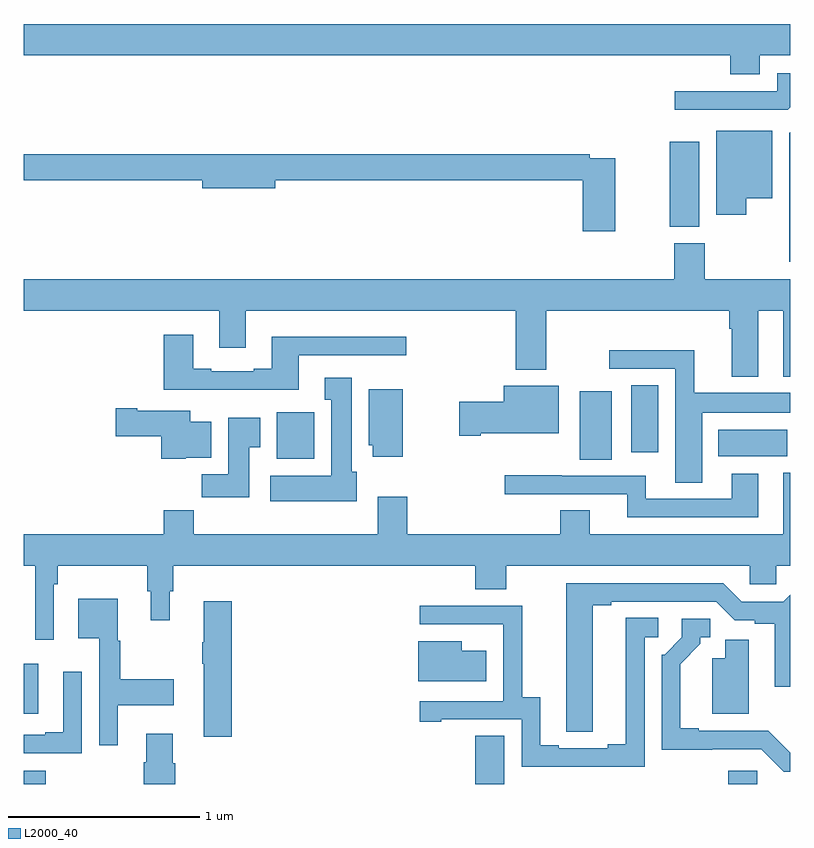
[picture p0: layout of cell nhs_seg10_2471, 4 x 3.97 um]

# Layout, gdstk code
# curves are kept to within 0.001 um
import gdstk
lib = gdstk.Library(unit=1e-6, precision=1e-09)
def R(c, l, rs):  # rectangles x0, y0, x1, y1
    for r in rs: c.add(gdstk.rectangle(r[:2], r[2:], *l))
def P(c, l, *ps):  # polygons
    for p in ps: c.add(gdstk.Polygon(p, *l))
L2000_40 = (2000, 40)

nhs_seg10_2471 = lib.new_cell('nhs_seg10_2471')
R(nhs_seg10_2471, L2000_40, [(243,1308.5,243.113,1308.57), (245.357,1308.5,245.509,1308.752), (246.677,1308.5,246.828,1308.57), (243,1308.866,243.076,1309.129), (245.903,1310.194,246.07,1310.551), (244.319,1310.198,244.516,1310.44), (246.626,1310.21,246.985,1310.35), (246.17,1310.232,246.313,1310.582), (246.371,1311.409,246.526,1311.853)])
P(nhs_seg10_2471, L2000_40, [(246.841,1312.304),(247,1312.304),(247,1312.468),(243,1312.468),(243,1312.304),(246.689,1312.304),(246.689,1312.205),(246.841,1312.205)],
  [(247,1312.033),(247,1312.212),(246.933,1312.212),(246.933,1312.116),(246.399,1312.116),(246.399,1312.02),(246.987,1312.02)],
  [(246.772,1311.557),(246.907,1311.557),(246.907,1311.91),(246.614,1311.91),(246.614,1311.471),(246.772,1311.471)],
  [(247,1311.904),(246.995,1311.899),(246.995,1311.227),(247,1311.227)],
  [(246.088,1311.768),(245.954,1311.768),(245.954,1311.788),(243,1311.788),(243,1311.652),(243.932,1311.652),(243.932,1311.61),(244.312,1311.61),(244.312,1311.652),(245.918,1311.652),(245.918,1311.387),(246.088,1311.387)],
  [(246.835,1310.972),(246.965,1310.972),(246.965,1310.627),(247,1310.627),(247,1311.136),(246.555,1311.136),(246.555,1311.324),(246.395,1311.324),(246.395,1311.136),(243,1311.136),(243,1310.972),(244.019,1310.972),(244.019,1310.778),(244.159,1310.778),(244.159,1310.972),(245.567,1310.972),(245.567,1310.663),(245.727,1310.663),(245.727,1310.972),(246.683,1310.972),(246.683,1310.876),(246.695,1310.876),(246.695,1310.627),(246.835,1310.627)],
  [(244.435,1310.739),(244.996,1310.739),(244.996,1310.836),(244.295,1310.836),(244.295,1310.668),(244.199,1310.668),(244.199,1310.655),(243.979,1310.655),(243.979,1310.668),(243.883,1310.668),(243.883,1310.845),(243.731,1310.845),(243.731,1310.558),(244.435,1310.558)],
  [(246.541,1310.438),(247,1310.438),(247,1310.542),(246.5,1310.542),(246.5,1310.765),(246.057,1310.765),(246.057,1310.667),(246.401,1310.667),(246.401,1310.074),(246.541,1310.074)],
  [(244.738,1310.13),(244.711,1310.13),(244.711,1310.62),(244.571,1310.62),(244.571,1310.507),(244.604,1310.507),(244.604,1310.11),(244.287,1310.11),(244.287,1309.976),(244.738,1309.976)],
  [(245.386,1310.33),(245.791,1310.33),(245.791,1310.578),(245.504,1310.578),(245.504,1310.496),(245.274,1310.496),(245.274,1310.318),(245.386,1310.318)],
  [(244.978,1310.56),(244.799,1310.56),(244.799,1310.268),(244.82,1310.268),(244.82,1310.208),(244.978,1310.208)],
  [(243.846,1310.204),(243.979,1310.204),(243.979,1310.392),(243.868,1310.392),(243.868,1310.449),(243.592,1310.449),(243.592,1310.462),(243.48,1310.462),(243.48,1310.315),(243.716,1310.315),(243.716,1310.198),(243.846,1310.198)],
  [(244.177,1310.257),(244.234,1310.257),(244.234,1310.413),(244.067,1310.413),(244.067,1310.116),(243.928,1310.116),(243.928,1309.998),(244.177,1309.998)],
  [(243.156,1309.544),(243.176,1309.544),(243.176,1309.64),(243.643,1309.64),(243.643,1309.506),(243.662,1309.506),(243.662,1309.356),(243.76,1309.356),(243.76,1309.506),(243.779,1309.506),(243.779,1309.64),(245.357,1309.64),(245.357,1309.516),(245.517,1309.516),(245.517,1309.64),(246.789,1309.64),(246.789,1309.542),(246.927,1309.542),(246.927,1309.64),(247,1309.64),(247,1310.125),(246.965,1310.125),(246.965,1309.804),(245.953,1309.804),(245.953,1309.928),(245.801,1309.928),(245.801,1309.804),(245,1309.804),(245,1309.999),(244.847,1309.999),(244.847,1309.804),(243.887,1309.804),(243.887,1309.928),(243.731,1309.928),(243.731,1309.804),(243,1309.804),(243,1309.64),(243.059,1309.64),(243.059,1309.254),(243.156,1309.254)],
  [(246.835,1310.119),(246.695,1310.119),(246.695,1309.989),(246.247,1309.989),(246.247,1310.109),(245.807,1310.109),(245.807,1310.112),(245.511,1310.112),(245.511,1310.013),(246.149,1310.013),(246.149,1309.893),(246.835,1309.893)],
  [(245.971,1309.432),(246.067,1309.432),(246.067,1309.452),(246.615,1309.452),(246.711,1309.356),(246.816,1309.356),(246.816,1309.336),(246.92,1309.336),(246.92,1309.008),(247,1309.008),(247,1309.487),(246.965,1309.452),(246.747,1309.452),(246.651,1309.548),(245.831,1309.548),(245.832,1308.772),(245.971,1308.772)],
  [(243.49,1308.911),(243.781,1308.911),(243.781,1309.046),(243.502,1309.046),(243.502,1309.247),(243.49,1309.247),(243.49,1309.468),(243.284,1309.468),(243.284,1309.262),(243.393,1309.262),(243.393,1308.702),(243.49,1308.702)],
  [(244.085,1309.453),(243.938,1309.453),(243.938,1309.24),(243.931,1309.24),(243.931,1309.129),(243.938,1309.129),(243.938,1308.747),(244.085,1308.747)],
  [(246.24,1309.266),(246.313,1309.266),(246.313,1309.367),(246.143,1309.367),(246.143,1308.707),(246.047,1308.707),(246.047,1308.687),(245.791,1308.687),(245.791,1308.702),(245.695,1308.702),(245.695,1308.953),(245.601,1308.953),(245.601,1309.431),(245.067,1309.431),(245.067,1309.335),(245.501,1309.335),(245.501,1309.334),(245.502,1309.334),(245.502,1308.933),(245.067,1308.933),(245.067,1308.825),(245.179,1308.825),(245.179,1308.837),(245.598,1308.837),(245.598,1308.591),(246.24,1308.591)],
  [(247,1308.662),(246.885,1308.777),(246.523,1308.777),(246.523,1308.79),(246.427,1308.79),(246.427,1309.126),(246.532,1309.231),(246.532,1309.266),(246.582,1309.266),(246.582,1309.362),(246.435,1309.362),(246.435,1309.266),(246.345,1309.176),(246.33,1309.176),(246.33,1308.68),(246.849,1308.681),(246.966,1308.564),(247,1308.564)],
  [(246.784,1309.254),(246.662,1309.254),(246.662,1309.156),(246.593,1309.156),(246.593,1308.866),(246.784,1308.866)],
  [(245.413,1309.195),(245.287,1309.195),(245.287,1309.246),(245.06,1309.246),(245.06,1309.037),(245.413,1309.037)],
  [(243.303,1309.087),(243.206,1309.087),(243.206,1308.769),(243.11,1308.769),(243.11,1308.756),(243,1308.756),(243,1308.66),(243.303,1308.66)],
  [(243.791,1308.609),(243.778,1308.609),(243.778,1308.763),(243.638,1308.763),(243.638,1308.614),(243.626,1308.614),(243.626,1308.5),(243.791,1308.5)])

lib.write_gds('nhs_seg10_2471.gds')
